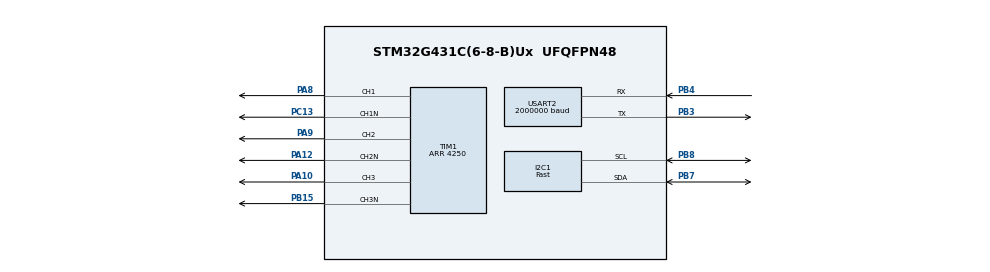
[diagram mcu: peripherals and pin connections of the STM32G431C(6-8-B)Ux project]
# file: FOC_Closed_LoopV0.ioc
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I2C1.I2C_Speed_Mode=I2C_Fast
I2C1.Timing=0x40621236
Mcu.Family=STM32G4
Mcu.Name=STM32G431C(6-8-B)Ux
Mcu.Package=UFQFPN48
NVIC.PriorityGroup=NVIC_PRIORITYGROUP_4
NVIC.TIM1_UP_TIM16_IRQn=true\:0\:0\:false\:false\:true\:true\:true\:true
NVIC.TIM4_IRQn=true\:15\:0\:false\:false\:true\:false\:true\:true
NVIC.TimeBase=TIM4_IRQn
NVIC.TimeBaseIP=TIM4
NVIC.USART2_IRQn=true\:1\:0\:true\:false\:true\:true\:true\:true
PA10.Signal=S_TIM1_CH3
PA12.Mode=PWM Generation2 CH2 CH2N
PA12.Signal=TIM1_CH2N
PA13.Mode=Serial_Wire
PA13.Signal=SYS_JTMS-SWDIO
PA14.Mode=Serial_Wire
PA14.Signal=SYS_JTCK-SWCLK
PA8.Signal=S_TIM1_CH1
PA9.Signal=S_TIM1_CH2
PB15.Mode=PWM Generation3 CH3 CH3N
PB15.Signal=TIM1_CH3N
PB3.Mode=Asynchronous
PB3.Signal=USART2_TX
PB4.Mode=Asynchronous
PB4.Signal=USART2_RX
PB7.Mode=I2C
PB7.Signal=I2C1_SDA
PB8-BOOT0.Mode=I2C
PB8-BOOT0.Signal=I2C1_SCL
PC13.Mode=PWM Generation1 CH1 CH1N
PC13.Signal=TIM1_CH1N
PF0-OSC_IN.Mode=HSE-External-Oscillator
PF0-OSC_IN.Signal=RCC_OSC_IN
PF1-OSC_OUT.Mode=HSE-External-Oscillator
PF1-OSC_OUT.Signal=RCC_OSC_OUT
ProjectManager.HeapSize=0x200
ProjectManager.StackSize=0x400
ProjectManager.TargetToolchain=STM32CubeIDE
RCC.ADC12Freq_Value=170000000
RCC.AHBFreq_Value=170000000
RCC.APB1Freq_Value=170000000
RCC.APB1TimFreq_Value=170000000
RCC.APB2Freq_Value=170000000
RCC.APB2TimFreq_Value=170000000
RCC.CortexFreq_Value=170000000
RCC.EXTERNAL_CLOCK_VALUE=12288000
RCC.EnbaleCSS=true
RCC.HCLKFreq_Value=170000000
RCC.HSE_VALUE=8000000
RCC.HSI48_VALUE=48000000
RCC.HSI_VALUE=16000000
RCC.LSE_VALUE=32768
RCC.PLLM=RCC_PLLM_DIV2
RCC.PLLN=85
RCC.PLLSourceVirtual=RCC_PLLSOURCE_HSE
RCC.SYSCLKFreq_VALUE=170000000
RCC.SYSCLKSource=RCC_SYSCLKSOURCE_PLLCLK
RCC.USBFreq_Value=170000000
RCC.VCOOutputFreq_Value=340000000
SH.S_TIM1_CH1.0=TIM1_CH1,PWM Generation1 CH1 CH1N
SH.S_TIM1_CH2.0=TIM1_CH2,PWM Generation2 CH2 CH2N
SH.S_TIM1_CH3.0=TIM1_CH3,PWM Generation3 CH3 CH3N
TIM1.Channel-PWM\ Generation1\ CH1\ CH1N=TIM_CHANNEL_1
TIM1.Channel-PWM\ Generation2\ CH2\ CH2N=TIM_CHANNEL_2
TIM1.Channel-PWM\ Generation3\ CH3\ CH3N=TIM_CHANNEL_3
TIM1.CounterMode=TIM_COUNTERMODE_CENTERALIGNED1
TIM1.DeadTime=119
TIM1.PeriodNoDither=4250
TIM1.RepetitionCounter=39
TIM1.TIM_MasterOutputTrigger=TIM_TRGO_RESET
USART2.BaudRate=2000000
USART2.VirtualMode-Asynchronous=VM_ASYNC
VP_CORDIC_VS_CORDIC.Mode=CORDIC_Activate
VP_SYS_VS_DBSignals.Mode=DisableDeadBatterySignals
VP_SYS_VS_tim4.Mode=TIM4
board=custom

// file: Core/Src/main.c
/* USER CODE BEGIN Header */
/**
  ******************************************************************************
  * @file           : main.c
  * @brief          : Main program body
  ******************************************************************************
  * @attention
  *
  * Copyright (c) 2026 STMicroelectronics.
  * All rights reserved.
  *
  * This software is licensed under terms that can be found in the LICENSE file
  * in the root directory of this software component.
  * If no LICENSE file comes with this software, it is provided AS-IS.
  *
  ******************************************************************************
  */
/* USER CODE END Header */
#include "main.h"

/* USER CODE BEGIN Includes */
#include "FreeRTOS.h"
#include "task.h"
#include "closedloop.h"
#include <stdio.h>
/* USER CODE END Includes */

/* USER CODE BEGIN PD */

// For Segger SystemView logging
#define DWT_CTRL (*(volatile uint32_t*)0xE0001000)

/* USER CODE END PD */

/* USER CODE BEGIN PV */
extern volatile uint32_t isr_count;
extern volatile uint32_t isr_frequency;
/* USER CODE END PV */

void SystemClock_Config(void);
static void MX_GPIO_Init(void);
static void MX_TIM1_Init(void);
static void MX_USART2_UART_Init(void);
static void MX_CORDIC_Init(void);
static void MX_I2C1_Init(void);
/* USER CODE BEGIN PFP */
static void stateMachineUpdate_handler(void *parameters);
/* USER CODE END PFP */

int main(void)
{

  /* USER CODE BEGIN 1 */
  TaskHandle_t task1_handle;
  BaseType_t status;
  /* USER CODE END 1 */

  /* MCU Configuration--------------------------------------------------------*/

  /* Reset of all peripherals, Initializes the Flash interface and the Systick. */
  HAL_Init();

  /* Configure the system clock */
  SystemClock_Config();

  /* Initialize all configured peripherals */
  MX_GPIO_Init();
  MX_TIM1_Init();
  MX_USART2_UART_Init();
  MX_CORDIC_Init();
  MX_I2C1_Init();
  /* USER CODE BEGIN 2 */

  //Initialize Motor control dependencies
  Update_Control_Timing(1000); // This will set the voltage control loop to 5KHz
  init_sine_lut(); // This will generate Sine Lookup table and save it in flash
  USART_Init(); //

  /* ============== TIM1 SETUP ============== */

  /* Configure TIM1 TRGO for Update Event */
  LL_TIM_SetTriggerOutput(TIM1, LL_TIM_TRGO_UPDATE);

  /* Enable TIM1 PWM channels */
  LL_TIM_CC_EnableChannel(TIM1, LL_TIM_CHANNEL_CH1);
  LL_TIM_CC_EnableChannel(TIM1, LL_TIM_CHANNEL_CH1N);
  LL_TIM_CC_EnableChannel(TIM1, LL_TIM_CHANNEL_CH2);
  LL_TIM_CC_EnableChannel(TIM1, LL_TIM_CHANNEL_CH2N);
  LL_TIM_CC_EnableChannel(TIM1, LL_TIM_CHANNEL_CH3);
  LL_TIM_CC_EnableChannel(TIM1, LL_TIM_CHANNEL_CH3N);

  /* Enable TIM1 main output */
  LL_TIM_EnableAllOutputs(TIM1);

	// Enable Update interrupt
  LL_TIM_EnableIT_UPDATE(TIM1);

  /* Start TIM1 counter - THIS STARTS THE ADC TRIGGERING */
  LL_TIM_EnableCounter(TIM1);

  /* THEN set RCR=1 to after enabling counter to ensure UEV (and ADC trigger) occurs at overflow/ARR
  ** This works for current sensing in STM32G4xx  */
  // LL_TIM_SetRepetitionCounter(TIM1, 1);

  // For SystemView logging
  // Enable the CYCCNT counter
  DWT_CTRL |= (1<<0);

  //SEGGER_UART_init(500000); //UART_record file is written for STM32F407, it will not work for other series of MCUs

  SEGGER_SYSVIEW_Conf();
  SEGGER_SYSVIEW_Start();

  status = xTaskCreate(stateMachineUpdate_handler, "State Machine Update", 400, NULL, 2, &task1_handle);

  configASSERT( status == pdPASS);

  /* Start FreeRTOS scheduler */
  vTaskStartScheduler();

  /* USER CODE END 2 */

  /* Infinite loop */
  while (1)
  {

  }
}

void SystemClock_Config(void)
{
  LL_FLASH_SetLatency(LL_FLASH_LATENCY_4);
  while(LL_FLASH_GetLatency() != LL_FLASH_LATENCY_4)
  {
  }
  LL_PWR_EnableRange1BoostMode();
  LL_RCC_HSE_Enable();
   /* Wait till HSE is ready */
  while(LL_RCC_HSE_IsReady() != 1)
  {
  }

  LL_RCC_HSE_EnableCSS();
  LL_RCC_PLL_ConfigDomain_SYS(LL_RCC_PLLSOURCE_HSE, LL_RCC_PLLM_DIV_2, 85, LL_RCC_PLLR_DIV_2);
  LL_RCC_PLL_EnableDomain_SYS();
  LL_RCC_PLL_Enable();
   /* Wait till PLL is ready */
  while(LL_RCC_PLL_IsReady() != 1)
  {
  }

  LL_RCC_SetSysClkSource(LL_RCC_SYS_CLKSOURCE_PLL);
  LL_RCC_SetAHBPrescaler(LL_RCC_SYSCLK_DIV_2);
   /* Wait till System clock is ready */
  while(LL_RCC_GetSysClkSource() != LL_RCC_SYS_CLKSOURCE_STATUS_PLL)
  {
  }

  /* Insure 1us transition state at intermediate medium speed clock*/
  for (__IO uint32_t i = (170 >> 1); i !=0; i--);

  /* Set AHB prescaler*/
  LL_RCC_SetAHBPrescaler(LL_RCC_SYSCLK_DIV_1);
  LL_RCC_SetAPB1Prescaler(LL_RCC_APB1_DIV_1);
  LL_RCC_SetAPB2Prescaler(LL_RCC_APB2_DIV_1);
  LL_SetSystemCoreClock(170000000);

   /* Update the time base */
  if (HAL_InitTick (TICK_INT_PRIORITY) != HAL_OK)
  {
    Error_Handler();
  }
}

static void MX_CORDIC_Init(void)
{

  /* Peripheral clock enable */
  LL_AHB1_GRP1_EnableClock(LL_AHB1_GRP1_PERIPH_CORDIC);

  /* nothing else to be configured */

}

static void MX_I2C1_Init(void)
{

  LL_I2C_InitTypeDef I2C_InitStruct = {0};

  LL_GPIO_InitTypeDef GPIO_InitStruct = {0};

  LL_RCC_SetI2CClockSource(LL_RCC_I2C1_CLKSOURCE_PCLK1);

  LL_AHB2_GRP1_EnableClock(LL_AHB2_GRP1_PERIPH_GPIOB);
  /**I2C1 GPIO Configuration
  PB7   ------> I2C1_SDA
  PB8-BOOT0   ------> I2C1_SCL
  */
  GPIO_InitStruct.Pin = LL_GPIO_PIN_7;
  GPIO_InitStruct.Mode = LL_GPIO_MODE_ALTERNATE;
  GPIO_InitStruct.Speed = LL_GPIO_SPEED_FREQ_LOW;
  GPIO_InitStruct.OutputType = LL_GPIO_OUTPUT_OPENDRAIN;
  GPIO_InitStruct.Pull = LL_GPIO_PULL_NO;
  GPIO_InitStruct.Alternate = LL_GPIO_AF_4;
  LL_GPIO_Init(GPIOB, &GPIO_InitStruct);

  GPIO_InitStruct.Pin = LL_GPIO_PIN_8;
  GPIO_InitStruct.Mode = LL_GPIO_MODE_ALTERNATE;
  GPIO_InitStruct.Speed = LL_GPIO_SPEED_FREQ_LOW;
  GPIO_InitStruct.OutputType = LL_GPIO_OUTPUT_OPENDRAIN;
  GPIO_InitStruct.Pull = LL_GPIO_PULL_NO;
  GPIO_InitStruct.Alternate = LL_GPIO_AF_4;
  LL_GPIO_Init(GPIOB, &GPIO_InitStruct);

  /* Peripheral clock enable */
  LL_APB1_GRP1_EnableClock(LL_APB1_GRP1_PERIPH_I2C1);

  /** I2C Initialization
  */
  I2C_InitStruct.PeripheralMode = LL_I2C_MODE_I2C;
  I2C_InitStruct.Timing = 0x40621236;
  I2C_InitStruct.AnalogFilter = LL_I2C_ANALOGFILTER_ENABLE;
  I2C_InitStruct.DigitalFilter = 0;
  I2C_InitStruct.OwnAddress1 = 0;
  I2C_InitStruct.TypeAcknowledge = LL_I2C_ACK;
  I2C_InitStruct.OwnAddrSize = LL_I2C_OWNADDRESS1_7BIT;
  LL_I2C_Init(I2C1, &I2C_InitStruct);
  LL_I2C_EnableAutoEndMode(I2C1);
  LL_I2C_SetOwnAddress2(I2C1, 0, LL_I2C_OWNADDRESS2_NOMASK);
  LL_I2C_DisableOwnAddress2(I2C1);
  LL_I2C_DisableGeneralCall(I2C1);
  LL_I2C_EnableClockStretching(I2C1);

}

static void MX_TIM1_Init(void)
{

  LL_TIM_InitTypeDef TIM_InitStruct = {0};
  LL_TIM_OC_InitTypeDef TIM_OC_InitStruct = {0};
  LL_TIM_BDTR_InitTypeDef TIM_BDTRInitStruct = {0};

  LL_GPIO_InitTypeDef GPIO_InitStruct = {0};

  /* Peripheral clock enable */
  LL_APB2_GRP1_EnableClock(LL_APB2_GRP1_PERIPH_TIM1);

  /* TIM1 interrupt Init */
  NVIC_SetPriority(TIM1_UP_TIM16_IRQn, NVIC_EncodePriority(NVIC_GetPriorityGrouping(),0, 0));
  NVIC_EnableIRQ(TIM1_UP_TIM16_IRQn);

  TIM_InitStruct.Prescaler = 0;
  TIM_InitStruct.CounterMode = LL_TIM_COUNTERMODE_CENTER_DOWN;
  TIM_InitStruct.Autoreload = 4250;
  TIM_InitStruct.ClockDivision = LL_TIM_CLOCKDIVISION_DIV1;
  TIM_InitStruct.RepetitionCounter = 39;
  LL_TIM_Init(TIM1, &TIM_InitStruct);
  LL_TIM_DisableARRPreload(TIM1);
  LL_TIM_OC_EnablePreload(TIM1, LL_TIM_CHANNEL_CH1);
  TIM_OC_InitStruct.OCMode = LL_TIM_OCMODE_PWM1;
  TIM_OC_InitStruct.OCState = LL_TIM_OCSTATE_DISABLE;
  TIM_OC_InitStruct.OCNState = LL_TIM_OCSTATE_DISABLE;
  TIM_OC_InitStruct.CompareValue = 0;
  TIM_OC_InitStruct.OCPolarity = LL_TIM_OCPOLARITY_HIGH;
  TIM_OC_InitStruct.OCNPolarity = LL_TIM_OCPOLARITY_HIGH;
  TIM_OC_InitStruct.OCIdleState = LL_TIM_OCIDLESTATE_LOW;
  TIM_OC_InitStruct.OCNIdleState = LL_TIM_OCIDLESTATE_LOW;
  LL_TIM_OC_Init(TIM1, LL_TIM_CHANNEL_CH1, &TIM_OC_InitStruct);
  LL_TIM_OC_DisableFast(TIM1, LL_TIM_CHANNEL_CH1);
  LL_TIM_OC_EnablePreload(TIM1, LL_TIM_CHANNEL_CH2);
  LL_TIM_OC_Init(TIM1, LL_TIM_CHANNEL_CH2, &TIM_OC_InitStruct);
  LL_TIM_OC_DisableFast(TIM1, LL_TIM_CHANNEL_CH2);
  LL_TIM_OC_EnablePreload(TIM1, LL_TIM_CHANNEL_CH3);
  LL_TIM_OC_Init(TIM1, LL_TIM_CHANNEL_CH3, &TIM_OC_InitStruct);
  LL_TIM_OC_DisableFast(TIM1, LL_TIM_CHANNEL_CH3);
  LL_TIM_SetTriggerOutput(TIM1, LL_TIM_TRGO_RESET);
  LL_TIM_SetTriggerOutput2(TIM1, LL_TIM_TRGO2_RESET);
  LL_TIM_DisableMasterSlaveMode(TIM1);
  TIM_BDTRInitStruct.OSSRState = LL_TIM_OSSR_DISABLE;
  TIM_BDTRInitStruct.OSSIState = LL_TIM_OSSI_DISABLE;
  TIM_BDTRInitStruct.LockLevel = LL_TIM_LOCKLEVEL_OFF;
  TIM_BDTRInitStruct.DeadTime = 119;
  TIM_BDTRInitStruct.BreakState = LL_TIM_BREAK_DISABLE;
  TIM_BDTRInitStruct.BreakPolarity = LL_TIM_BREAK_POLARITY_HIGH;
  TIM_BDTRInitStruct.BreakFilter = LL_TIM_BREAK_FILTER_FDIV1;
  TIM_BDTRInitStruct.BreakAFMode = LL_TIM_BREAK_AFMODE_INPUT;
  TIM_BDTRInitStruct.Break2State = LL_TIM_BREAK2_DISABLE;
  TIM_BDTRInitStruct.Break2Polarity = LL_TIM_BREAK2_POLARITY_HIGH;
  TIM_BDTRInitStruct.Break2Filter = LL_TIM_BREAK2_FILTER_FDIV1;
  TIM_BDTRInitStruct.Break2AFMode = LL_TIM_BREAK_AFMODE_INPUT;
  TIM_BDTRInitStruct.AutomaticOutput = LL_TIM_AUTOMATICOUTPUT_DISABLE;
  LL_TIM_BDTR_Init(TIM1, &TIM_BDTRInitStruct);
  LL_AHB2_GRP1_EnableClock(LL_AHB2_GRP1_PERIPH_GPIOC);
  LL_AHB2_GRP1_EnableClock(LL_AHB2_GRP1_PERIPH_GPIOB);
  LL_AHB2_GRP1_EnableClock(LL_AHB2_GRP1_PERIPH_GPIOA);
  /**TIM1 GPIO Configuration
  PC13   ------> TIM1_CH1N
  PB15   ------> TIM1_CH3N
  PA8   ------> TIM1_CH1
  PA9   ------> TIM1_CH2
  PA10   ------> TIM1_CH3
  PA12   ------> TIM1_CH2N
  */
  GPIO_InitStruct.Pin = LL_GPIO_PIN_13;
  GPIO_InitStruct.Mode = LL_GPIO_MODE_ALTERNATE;
  GPIO_InitStruct.Speed = LL_GPIO_SPEED_FREQ_LOW;
  GPIO_InitStruct.OutputType = LL_GPIO_OUTPUT_PUSHPULL;
  GPIO_InitStruct.Pull = LL_GPIO_PULL_NO;
  GPIO_InitStruct.Alternate = LL_GPIO_AF_4;
  LL_GPIO_Init(GPIOC, &GPIO_InitStruct);

  GPIO_InitStruct.Pin = LL_GPIO_PIN_15;
  GPIO_InitStruct.Mode = LL_GPIO_MODE_ALTERNATE;
  GPIO_InitStruct.Speed = LL_GPIO_SPEED_FREQ_LOW;
  GPIO_InitStruct.OutputType = LL_GPIO_OUTPUT_PUSHPULL;
  GPIO_InitStruct.Pull = LL_GPIO_PULL_NO;
  GPIO_InitStruct.Alternate = LL_GPIO_AF_4;
  LL_GPIO_Init(GPIOB, &GPIO_InitStruct);

  GPIO_InitStruct.Pin = LL_GPIO_PIN_8;
  GPIO_InitStruct.Mode = LL_GPIO_MODE_ALTERNATE;
  GPIO_InitStruct.Speed = LL_GPIO_SPEED_FREQ_LOW;
  GPIO_InitStruct.OutputType = LL_GPIO_OUTPUT_PUSHPULL;
  GPIO_InitStruct.Pull = LL_GPIO_PULL_NO;
  GPIO_InitStruct.Alternate = LL_GPIO_AF_6;
  LL_GPIO_Init(GPIOA, &GPIO_InitStruct);

  GPIO_InitStruct.Pin = LL_GPIO_PIN_9;
  GPIO_InitStruct.Mode = LL_GPIO_MODE_ALTERNATE;
  GPIO_InitStruct.Speed = LL_GPIO_SPEED_FREQ_LOW;
  GPIO_InitStruct.OutputType = LL_GPIO_OUTPUT_PUSHPULL;
  GPIO_InitStruct.Pull = LL_GPIO_PULL_NO;
  GPIO_InitStruct.Alternate = LL_GPIO_AF_6;
  LL_GPIO_Init(GPIOA, &GPIO_InitStruct);

  GPIO_InitStruct.Pin = LL_GPIO_PIN_10;
  GPIO_InitStruct.Mode = LL_GPIO_MODE_ALTERNATE;
  GPIO_InitStruct.Speed = LL_GPIO_SPEED_FREQ_LOW;
  GPIO_InitStruct.OutputType = LL_GPIO_OUTPUT_PUSHPULL;
  GPIO_InitStruct.Pull = LL_GPIO_PULL_NO;
  GPIO_InitStruct.Alternate = LL_GPIO_AF_6;
  LL_GPIO_Init(GPIOA, &GPIO_InitStruct);

  GPIO_InitStruct.Pin = LL_GPIO_PIN_12;
  GPIO_InitStruct.Mode = LL_GPIO_MODE_ALTERNATE;
  GPIO_InitStruct.Speed = LL_GPIO_SPEED_FREQ_LOW;
  GPIO_InitStruct.OutputType = LL_GPIO_OUTPUT_PUSHPULL;
  GPIO_InitStruct.Pull = LL_GPIO_PULL_NO;
  GPIO_InitStruct.Alternate = LL_GPIO_AF_6;
  LL_GPIO_Init(GPIOA, &GPIO_InitStruct);

}

static void MX_USART2_UART_Init(void)
{

  LL_USART_InitTypeDef USART_InitStruct = {0};

  LL_GPIO_InitTypeDef GPIO_InitStruct = {0};

  LL_RCC_SetUSARTClockSource(LL_RCC_USART2_CLKSOURCE_PCLK1);

  /* Peripheral clock enable */
  LL_APB1_GRP1_EnableClock(LL_APB1_GRP1_PERIPH_USART2);

  LL_AHB2_GRP1_EnableClock(LL_AHB2_GRP1_PERIPH_GPIOB);
  /**USART2 GPIO Configuration
  PB3   ------> USART2_TX
  PB4   ------> USART2_RX
  */
  GPIO_InitStruct.Pin = LL_GPIO_PIN_3;
  GPIO_InitStruct.Mode = LL_GPIO_MODE_ALTERNATE;
  GPIO_InitStruct.Speed = LL_GPIO_SPEED_FREQ_LOW;
  GPIO_InitStruct.OutputType = LL_GPIO_OUTPUT_PUSHPULL;
  GPIO_InitStruct.Pull = LL_GPIO_PULL_NO;
  GPIO_InitStruct.Alternate = LL_GPIO_AF_7;
  LL_GPIO_Init(GPIOB, &GPIO_InitStruct);

  GPIO_InitStruct.Pin = LL_GPIO_PIN_4;
  GPIO_InitStruct.Mode = LL_GPIO_MODE_ALTERNATE;
  GPIO_InitStruct.Speed = LL_GPIO_SPEED_FREQ_LOW;
  GPIO_InitStruct.OutputType = LL_GPIO_OUTPUT_PUSHPULL;
  GPIO_InitStruct.Pull = LL_GPIO_PULL_NO;
  GPIO_InitStruct.Alternate = LL_GPIO_AF_7;
  LL_GPIO_Init(GPIOB, &GPIO_InitStruct);

  /* USART2 interrupt Init */
  NVIC_SetPriority(USART2_IRQn, NVIC_EncodePriority(NVIC_GetPriorityGrouping(),1, 0));
  NVIC_EnableIRQ(USART2_IRQn);

  USART_InitStruct.PrescalerValue = LL_USART_PRESCALER_DIV1;
  USART_InitStruct.BaudRate = 2000000;
  USART_InitStruct.DataWidth = LL_USART_DATAWIDTH_8B;
  USART_InitStruct.StopBits = LL_USART_STOPBITS_1;
  USART_InitStruct.Parity = LL_USART_PARITY_NONE;
  USART_InitStruct.TransferDirection = LL_USART_DIRECTION_TX_RX;
  USART_InitStruct.HardwareFlowControl = LL_USART_HWCONTROL_NONE;
  USART_InitStruct.OverSampling = LL_USART_OVERSAMPLING_16;
  LL_USART_Init(USART2, &USART_InitStruct);
  LL_USART_SetTXFIFOThreshold(USART2, LL_USART_FIFOTHRESHOLD_1_8);
  LL_USART_SetRXFIFOThreshold(USART2, LL_USART_FIFOTHRESHOLD_1_8);
  LL_USART_DisableFIFO(USART2);
  LL_USART_ConfigAsyncMode(USART2);

  LL_USART_Enable(USART2);

  /* Polling USART2 initialisation */
  while((!(LL_USART_IsActiveFlag_TEACK(USART2))) || (!(LL_USART_IsActiveFlag_REACK(USART2))))
  {
  }

}

static void MX_GPIO_Init(void)
{

  /* GPIO Ports Clock Enable */
  LL_AHB2_GRP1_EnableClock(LL_AHB2_GRP1_PERIPH_GPIOC);
  LL_AHB2_GRP1_EnableClock(LL_AHB2_GRP1_PERIPH_GPIOF);
  LL_AHB2_GRP1_EnableClock(LL_AHB2_GRP1_PERIPH_GPIOB);
  LL_AHB2_GRP1_EnableClock(LL_AHB2_GRP1_PERIPH_GPIOA);

}

/* USER CODE BEGIN 4 */

static void stateMachineUpdate_handler(void *parameters)
{

	// Initialize PI controller
	PI_Init(0.05f, 1.5f, dt_seconds, -VDC_VOLTAGE/2, VDC_VOLTAGE/2);
	vTaskDelay(pdMS_TO_TICKS(2000));
	USART_SendString("\r\n=== Motor Control Started ===\r\n");
	system_state = STATE_CALIBRATION;

	while (1)
	{
		// State machine
		switch (system_state)
		{
		case STATE_CALIBRATION:
			Run_Calibration_offset();
			Run_Calibration_eccentricity();

			//When calibration complete, transition to closed-loop
			USART_SendString("\r\nTransitioning to OpenLoop\r\n");

			calibration_complete = 0;  // Reset flag
			system_state = STATE_OPEN_LOOP;
			break;

		case STATE_OPEN_LOOP:

//			vTaskDelay(pdMS_TO_TICKS(500));
//			const char* dir_str = (motor_direction == 1) ? "CW" :
//								  (motor_direction == -1) ? "CCW" : "Unknown";
//
//			char msg[64];
//			snprintf(msg, sizeof(msg), "Motor Direction: %s\r\n", dir_str);
//			USART_SendString(msg);

			vTaskDelay(pdMS_TO_TICKS(3000));

			USART_SendString("\r\nTransitioning to ClosedLoop\r\n");
			closedloop_enable = true;
			system_state = STATE_CLOSED_LOOP;
			break;

		case STATE_CLOSED_LOOP:

			vTaskDelay(pdMS_TO_TICKS(1000));
			USART_SendString("\r\nSystem State: CLOSED_LOOP\r\n"); // Printing every 1s
			char dbg[128];
			snprintf(dbg, sizeof(dbg),"Ref_rpm:%.2f  RPM:%.1f  Vq:%.2f  speed_error:%.2f PI_integral: %0.2f \r\n",speed_ref_rpm, speed_rpm, Vq_cmd, speed_error, PI_integral);
			USART_SendString(dbg);
      break;

		case STATE_FAULT:
            // Print error details
			char fault_msg[128];
			const char *error_names[] = {"None", "TXIS", "TC", "RX_High", "RX_Low", "STOP"};

			snprintf(fault_msg, sizeof(fault_msg),
					 "\r\n!!! FAULT STATE !!!\r\nI2C Error: %s\r\nTotal errors: %lu\r\n",
					 error_names[i2c_last_error], i2c_error_count);
			USART_SendString(fault_msg);

			// Stay in fault state - manual reset required
			vTaskDelay(pdMS_TO_TICKS(2000));  // Print every 2 seconds
      break;
		}
	}
}

/* USER CODE END 4 */

void HAL_TIM_PeriodElapsedCallback(TIM_HandleTypeDef *htim)
{
  if (htim->Instance == TIM4)
  {
    HAL_IncTick();
  }
}

void Error_Handler(void)
{
  __disable_irq();
  while (1)
  {
  }
}
